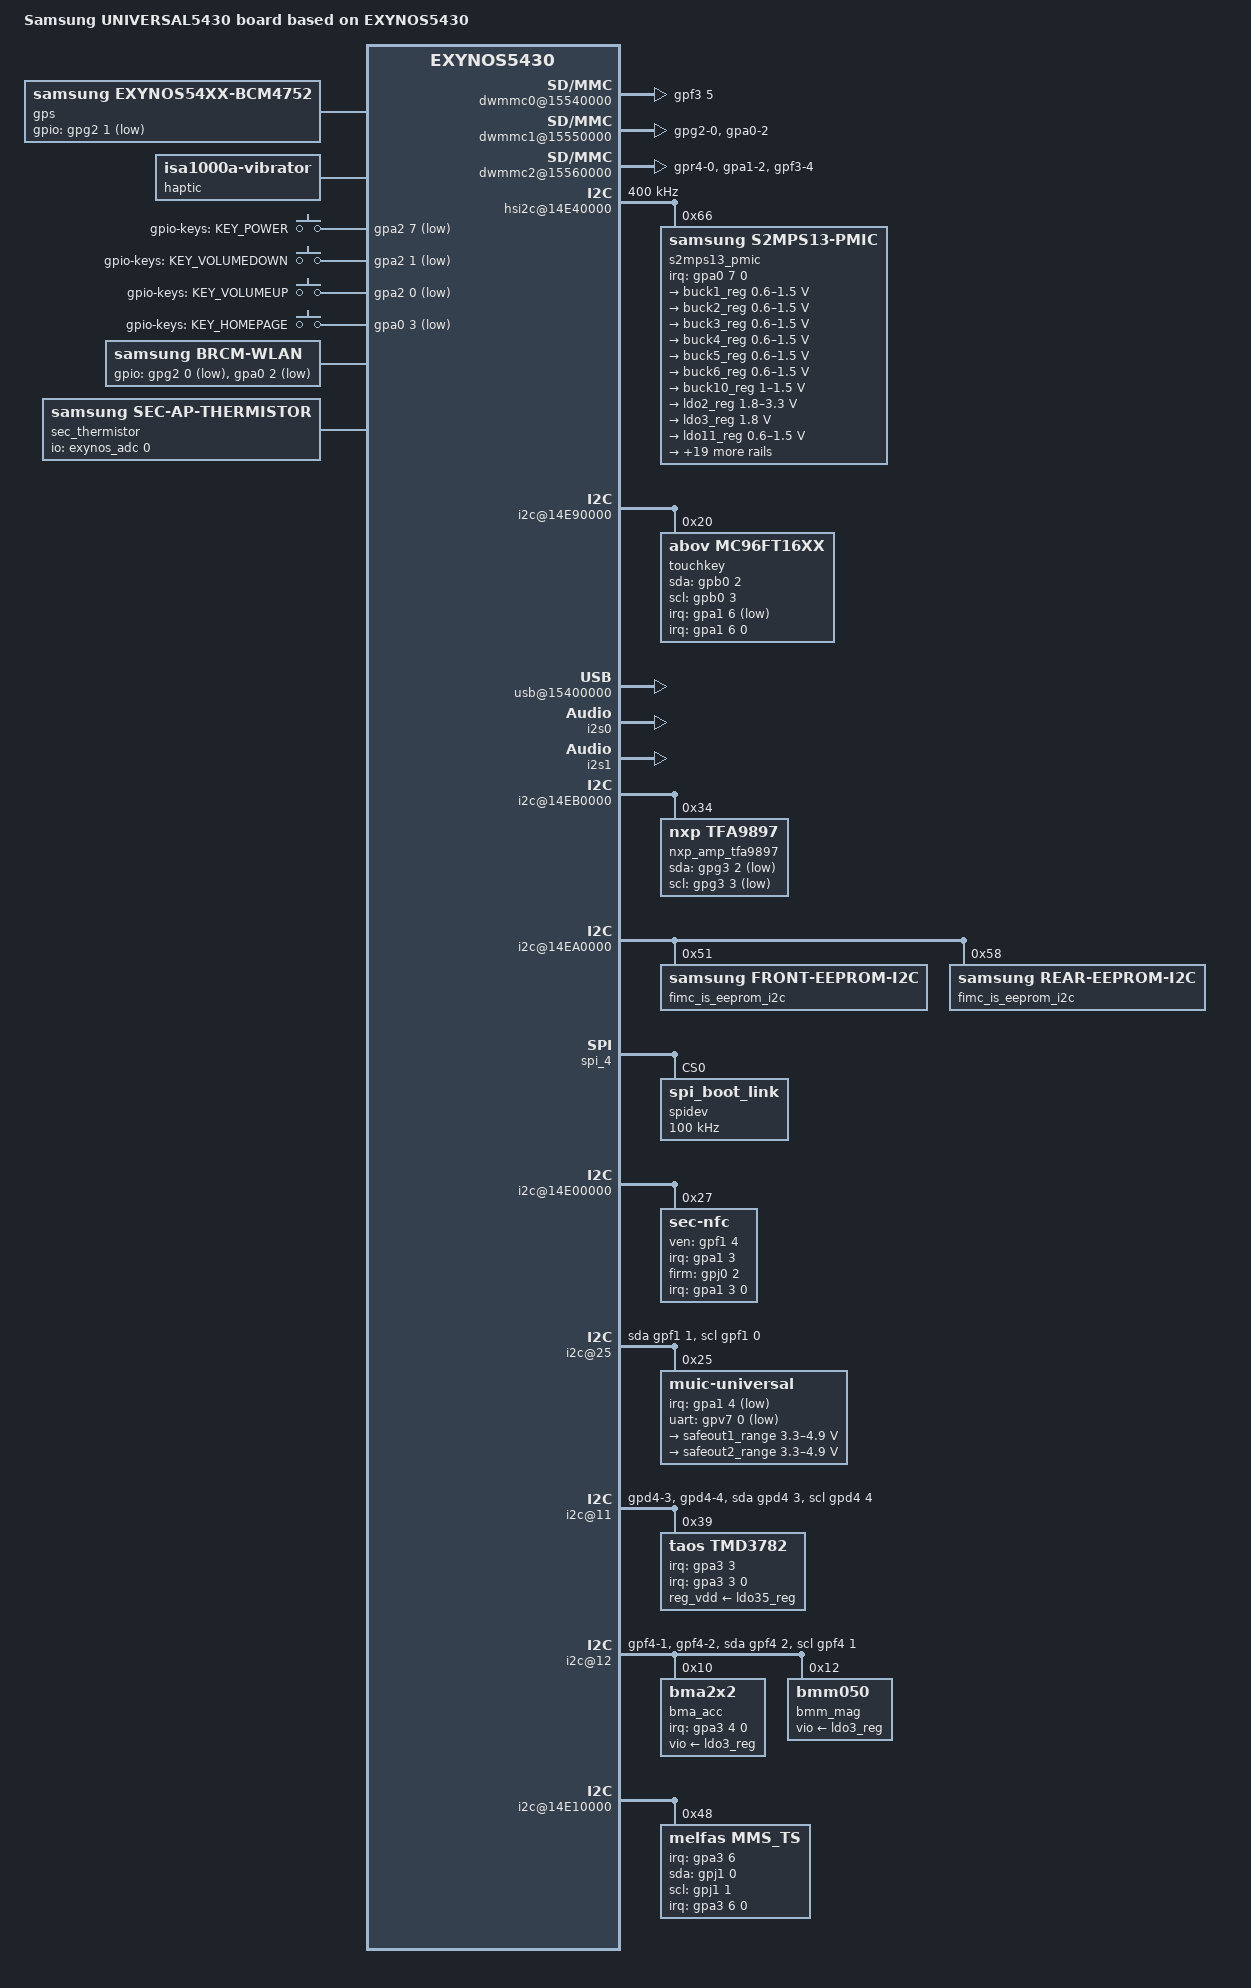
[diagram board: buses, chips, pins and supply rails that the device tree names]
/*
 * SAMSUNG UNIVERSAL5430 board device tree source
 *
 * Copyright (c) 2013 Samsung Electronics Co., Ltd.
 *		http://www.samsung.com
 *
 * This program is free software; you can redistribute it and/or modify
 * it under the terms of the GNU General Public License version 2 as
 * published by the Free Software Foundation.
*/

#include "exynos5430.dtsi"

/ {
	model = "Samsung UNIVERSAL5430 board based on EXYNOS5430";
	compatible = "samsung,UNIVERSAL5430", "samsung,exynos5430";

	chosen {
		bootargs = "console=ttySAC1,115200 vmalloc=512M";
	};

	fixed-rate-clocks {
		oscclk {
			compatible = "samsung,exynos5430-oscclk";
			clock-frequency = <24000000>;
		};
	};

	dwmmc0@15540000 {
		status = "okay";
		num-slots = <1>;
		broken-cd;
		bypass-smu;
		fixed_volt;
		clock-gate;
		enable-cclk-on-suspend;
		only_once_tune;
		supports-highspeed;
		supports-hs200-1-8v-mode;
		supports-ddr200-1-8v-mode;
		device-driver = <1>;
		supports-poweroff-notification;
		supports-ddr200-enhanced-strobe;
		error-retry;
		enable-cache-control;
		enable-no-sleep-cmd;
		qos_int_level = <200000>;
		extra_tuning;
		bypass-for-allpass;
		use-fine-tuning;
		use-enable-shift;
		ignore-lv1;                 /*Feature only applicable for A800F model */
		ignore-phase = <(1 << 7 | 1 << 6)>;
		fifo-depth = <0x80>;
		card-detect-delay = <200>;
		samsung,dw-mshc-ciu-div = <3>;
		samsung,dw-mshc-sdr-timing = <3 0 2 0>;
		samsung,dw-mshc-ddr-timing = <3 0 3 2>;
		samsung,dw-mshc-hs200-timing = <3 0 3 0>;
		samsung,dw-mshc-ddr200-timing = <1 0 2 0>;
		samsung,dw-mshc-ddr200-delay-line = <100>;
		clk_pin = "gpr0-0";
		clk_addr = "15690000.pinctrl";
		clk_val = <0x2>;
		clk_str_num = <6>;
		num-ref-clks = <8>;
		ciu_clkin = <25 50 50 100 200 100 200 400>;
		pinctrl-names = "default";
		pinctrl-0 = <&sd0_clk &sd0_cmd &sd0_rdqs &sd0_bus1 &sd0_bus4 &sd0_bus8>;
		gpios = <&gpf3 5 0>;

		slot@0 {
			reg = <0>;
			bus-width = <8>;
		};
	};

	dwmmc1@15550000 {
		status = "okay";
		num-slots = <1>;
		channel = <1>;
		fixed_volt;
		clock-gate;
		enable-cclk-on-suspend;
		caps-control;
		supports-highspeed;
		supports-sdr104-mode;
		keep-power-in-suspend;
		pm-ignore-notify;
		cd-type-external;
		cd-type = <2>;
		use-broken-voltage;
		use-fine-tuning;
		ignore-phase = <(1 << 7)>;
		fifo-depth = <0x40>;
		card-detect-delay = <200>;
		qos_int_level = <200000>;
		samsung,dw-mshc-ciu-div = <3>;
		samsung,dw-mshc-sdr-timing = <3 0 2 1>;
		samsung,dw-mshc-ddr-timing = <3 0 3 2>;
		clk_pin = "gpr2-0";
		clk_addr = "15690000.pinctrl";
		clk_val = <0x2>;
		clk_str_num = <6>;
		num-ref-clks = <8>;
		ciu_clkin = <25 50 50 100 200 100 200 400>;
		pinctrl-names = "default";
		//pinctrl-0 = <&sd1_clk &sd1_cmd &sd1_bus1 &sd1_bus4>;
		pinctrl-0 = <&sd1_clk &sd1_cmd &sd1_bus1 &sd1_bus4 &cfg_wlanen &cfg_wlanhostwake>; /* Set WLAN_EN configuration of power down mode */

		slot@0 {
			reg = <0>;
			bus-width = <4>;
		};
	};


	dwmmc2@15560000 {
		status = "okay";
		num-slots = <1>;
		bypass-smu;
		supports-highspeed;
		supports-sdr104-mode;
		clock-gate;
		enable-cclk-on-suspend;
		//fix-fmp-size-mismatch;
		not-allow-single-dma;
		desc-size = <4>;
		use-fine-tuning;
		bypass-for-allpass;
		cd-type = <0>;
		fifo-depth = <0x40>;
		card-detect-delay = <200>;
		qos_int_level = <200000>;
		ignore-phase = <(1 << 7)>;
		samsung,dw-mshc-ciu-div = <3>;
		samsung,dw-mshc-sdr-timing = <3 0 2 1>;
		samsung,dw-mshc-ddr-timing = <3 0 3 2>;
		clk_pin = "gpr4-0";
		clk_addr = "15690000.pinctrl";
		clk_val = <0x2>;
		clk_str_num = <6>;
		num-ref-clks = <8>;
		ciu_clkin = <25 50 50 100 200 100 200 400>;
		pinctrl-names = "default", "output";
		pinctrl-0 = <&sd2_clk &sd2_cmd &sd2_bus1 &sd2_bus4 &dwmmc2_cd_ext_irq &dwmmc2_vmmc_en_gpio>;
		pinctrl-1 = <&sd2_clk_output &sd2_cmd_output &sd2_bus1 &sd2_bus4 &dwmmc2_cd_ext_irq &dwmmc2_vmmc_en_gpio>;

		gpio-controller;
		#gpio-cells = <2>;
		cd-gpio = <&gpa1 2 0x0>;
		sec-sd-slot-type = <2>; /* Hybrid slot model */

		vmmc-en-gpio = <&gpf3 4 0x1>;

		slot@0 {
			reg = <0>;
			bus-width = <4>;
			disable-wp;
		};

	};

	pinctrl@15690000 {
		sd2_clk: sd2-clk {
			samsung,pins = "gpr4-0";
			samsung,pin-function = <2>;
			samsung,pin-pud = <0>;
			samsung,pin-drv = <3>;
		};
	};

	pinctrl@14CC0000 {
		dwmmc2_vmmc_en_gpio: dwmmc2-vmmc-en-gpio {
		     samsung,pins = "gpf3-4";
		     samsung,pin-function = <0x1>;
		     samsung,pin-pud = <0>;
	     };
	};

	serial@11460000 {
		samsung,uart-wake-peer;
	};

	pinctrl@10580000 {
		ok_sw: ok-sw {
			samsung,pins = "gpa0-3";
			samsung,pin-pud = <3>;
			samsung,pin-drv = <0>;
		};
		pmic_irq: pmic-irq {
			samsung,pins = "gpa0-7";
			samsung,pin-function = <0>;
			samsung,pin-pud = <3>;
			samsung,pin-drv = <3>;
		};

		if_pmic_irq: if-pmic-irq {
			samsung,pins = "gpa1-0";
			samsung,pin-function = <0>;
			samsung,pin-pud = <0>;
			samsung,pin-drv = <0>;
		};

		muic_irq: muic-irq {
			samsung,pins = "gpa1-4";
			samsung,pin-function = <0>;
			samsung,pin-pud = <0>;
			samsung,pin-drv = <0>;
		};

		fuel_irq: fuel-irq {
			samsung,pins = "gpa1-5";
			samsung,pin-function = <0>;
			samsung,pin-pud = <0>;
			samsung,pin-drv = <0>;
		};

		dwmmc2_cd_ext_irq: dwmmc2_cd_ext_irq {
			samsung,pins = "gpa1-2";
			samsung,pin-function = <0xf>;
			samsung,pin-pud = <0>;
			samsung,pin-drv = <3>;
		};
	};
	pinctrl@14CC0000 {
		/* Warm reset information from AP */
		pm_wrsti: pm-wrsti {
			samsung,pins = "gpf5-4";
			samsung,pin-con-pdn = <3>;
		};
	};

	pinctrl@14CC0000 {
		/* touchkey i2c*/
		i2c5_bus: i2c5-bus {
			samsung,pins = "gpb0-3", "gpb0-2";
			samsung,pin-function = <3>;
			samsung,pin-pud = <0>;
			samsung,pin-drv = <0>;
		};
		i2c5_pdn_off: i2c5-pdn_off {
			samsung,pins = "gpb0-3", "gpb0-2";
			samsung,pin-con-pdn = <2>;
			samsung,pin-pud-pdn = <0>;
		};
	};

	pinctrl@14CC0000 {
		uart0_rts: uart0-rts {
			samsung,pins = "gpd0-3";
			samsung,pin-function = <2>;
			samsung,pin-pud = <0>;
			samsung,pin-con-pdn = <1>;
			samsung,pin-pud-pdn = <0>;
		};

		uart0_cts: uart0-cts {
			samsung,pins = "gpd0-2";
			samsung,pin-function = <2>;
			samsung,pin-pud = <0>;
			samsung,pin-con-pdn = <2>;
			samsung,pin-pud-pdn = <1>;
		};

		uart0_tx: uart0-tx {
			samsung,pins = "gpd0-1";
			samsung,pin-function = <2>;
			samsung,pin-pud = <0>;
			samsung,pin-con-pdn = <2>;
			samsung,pin-pud-pdn = <3>;
		};

		uart0_rx: uart0-rx {
			samsung,pins = "gpd0-0";
			samsung,pin-function = <2>;
			samsung,pin-pud = <3>;
			samsung,pin-con-pdn = <2>;
			samsung,pin-pud-pdn = <3>;
		};
	};

	serial@14C10000 {
		pinctrl-0 = <&uart0_rts &uart0_cts &uart0_tx &uart0_rx>;
	};

	gps {
		compatible = "samsung,exynos54xx-bcm4752";
		gpios = <&gpg2 1 0x1>;
		status = "okay";
	};

	pinctrl@10580000 {
		/* touchkey interrupt*/
		touchkey_int_active: touchkey_int_active {
			samsung,pins = "gpa1-6";
			samsung,pin-function = <0xf>;
			samsung,pin-pud = <0>;
			samsung,pin-drv = <0>;
		};
		touchkey_int_suspend: touchkey_int_suspend {
			samsung,pins = "gpa1-6";
			samsung,pin-function = <0>;
			samsung,pin-pud = <0>;
			samsung,pin-drv = <0>;
		};
	};

	hsi2c@14E40000 {
		samsung,hs-mode;
		clock-frequency = <400000>;
		status = "okay";

		s2mps13_pmic@66 {
			compatible = "samsung,s2mps13-pmic";
			reg = <0x66>;
			interrupts = <7 0 0>;
			interrupt-parent = <&gpa0>;
			pinctrl-names = "default";
			pinctrl-0 = <&pmic_irq &pm_wrsti>;
			ap-buck-avp-en;
			sub-buck-avp-en;
			/* RTC: wtsr/smpl */
			wtsr_en = <1>; /* enable */
			smpl_en = <1>; /* enable */
			wtsr_timer_val = <3>;	/* 1000ms */
			smpl_timer_val = <4>;	/* 500ms */
			check_jigon = <0>; /* do not check jigon */
			/* RTC: If it's first boot, reset rtc to 1/1/2014 12:00:00(Wed) */
			init_time,sec = <0>;
			init_time,min = <0>;
			init_time,hour = <12>;
			init_time,mday = <1>;
			init_time,mon = <0>;
			init_time,year = <114>;
			init_time,wday = <3>;
		};
	};

	i2c@14E90000 {
		samsung,i2c-sda-delay = <100>;
		samsung,i2c-max-bus-freq = <200000>;
		status = "okay";
		touchkey@20 {
			pinctrl-names = "on_irq","off_irq";
			pinctrl-0 = <&touchkey_int_active>;
			pinctrl-1 = <&touchkey_int_suspend &i2c5_pdn_off>;
			compatible = "abov,mc96ft16xx";
			reg = <0x20>;
			interrupts = <6 0 0>;
			interrupt-parent = <&gpa1>;
			abov,sda-gpio = <&gpb0 2 0>;
			abov,scl-gpio = <&gpb0 3 0>;
			abov,irq-gpio = <&gpa1 6 1>;
			abov,regulator_ic = "vtouch_2.8v";
			abov,regulator_led = "vtouch_led_2.8v";
			abov,boot-on-ldo = "true";
		};
	};

	haptic {
		status = "okay";
		compatible = "isa1000a-vibrator";
		pinctrl-names = "default";
		pinctrl-0 = <&motor_en &vibetonz_pwm>;
		haptic,max_timeout = <10000>;
		haptic,duty = <31900>;   /* ratio = 83.7% */
		haptic,period = <38110>; /* freq = 205 * 128 = 26240hz */
		haptic,pwm_id = <0>;
		haptic,en = <&gpd4 0 0>;
	};

	pinctrl@14CC0000 {
		motor_en: motor_en {
			samsung,pins = "gpd4-0";
			samsung,pin-function = <1>;
			samsung,pin-pud = <0>;
			samsung,pin-drv = <0>;
	      };
	};

	pinctrl@14CC0000 {
		disp_pcd: disp_pcd {
			samsung,pins = "gpv7-1";
			samsung,pin-function = <0xf>;
			samsung,pin-pud = <1>;
		};
		disp_errfg: disp_errfg {
			samsung,pins = "gpb0-4";
			samsung,pin-function = <0xf>;
			samsung,pin-pud = <1>;
		};
		disp_errfg_off: disp_errfg_off {
			samsung,pins = "gpb0-4";
			samsung,pin-function = <1>;
			samsung,pin-pud = <1>;
			samsung,pin-val = <0>;
		};
	};

	/* disp_driver */
	decon_fb: decon_fb {
	/*	oled-id-gpio = <&gpf2 1 0x0>; */
		oled-pcd-gpio = <&gpv7 1 0xf>;
		oled-errfg-gpio = <&gpb0 4 0xf>;
		lcd_info = <&s6e3fa3x01>;
		decon_board = <&decon_board_list>;

		pinctrl-names = "default", "turnon_tes", "turnoff_tes", "errfg_off";
		pinctrl-0 = <&disp_pcd &disp_errfg>;
		pinctrl-1 = <&disp_pcd &disp_errfg &disp_teson>;
		pinctrl-2 = <&disp_tesoff>;
		pinctrl-3 = <&disp_pcd &disp_errfg_off &disp_teson>;

		mipi_dsi: mipi_dsi {
			/* Interface definition: 0 - DSIM_COMMAND,
						 1 - DSIM_VIDEO */
			e_interface = <0>;

			/* Pixel format : 0 - DSIM_CMD_3BPP,
					  1 - DSIM_CMD_8BPP,
					  2 - DSIM_CMD_12BPP,
					  3 - DSIM_CMD_16BPP,
					  4 - DSIM_VID_16BPP_565,
					  5 - DSIM_VID_18BPP_666PACKED,
					  6 - DSIM_18BPP_666LOOSELYPACKED,
					  7 - DSIM_24BPP_888 */
			e_pixel_format = <7>;

			/* main frame fifo auto flush at VSYNC pulse */
			auto_flush = <0>;
			eot_disable = <1>;
			auto_vertical_cnt = <0>;
			hse = <0>;
			hfp = <0>;
			hbp = <0>;
			hsa = <0>;

			/* num of data lane : 0 - DSIM_DATA_LANE_1,
					      1 - DSIM_DATA_LANE_2,
					      2 - DSIM_DATA_LANE_3,
					      3 - DSIM_DATA_LANE_4 */
			e_no_data_lane = <3>;
			/* byte clock divider : 0 - DSIM_PLL_OUT_DIV8,
						1 - DSIM_EXT_CLK_DIV8,
						2 - DSIM_EXT_CLK_BYPASS */
			e_byte_clk = <0>;
			/* Burst mode : 0 - DSIM_NON_BURST_SYNC_EVENT,
					2 - DSIM_NON_BURST_SYNC_PULSE,
					1 - DSIM_BURST
					4 - DSIM_NON_VIDEO_MODE */
			e_burst_mode = <1>;
			/* D-PHY PLL stable time spec :min = 200usec ~ max 400usec */
			pll_stable_time = <22200>;
			/* stop state holding counter after bta change count 0 ~ 0xfff */
			stop_holding_cnt = <10>;
			/* bta timeout 0 ~ 0xff */
			bta_timeout = <0xff>;
			/* lp rx timeout 0 ~ 0xffff */
			rx_timeout = <0xffff>;
		};
		s6e3fa3x01: s6e3fa3x01_fhd {
			mode = <0>;
			resolution = <1080 1920>;
			size = <65 115>;
			timing,refresh = <60>;
			timing,h-porch = <1 1 1>;
			timing,v-porch = <15 1 1>;
			timing,dsi-hs-clk = <936>;
			timing,dsi-escape-clk = <17>;
			timing,hsync-2h-cycle = <1>;
			type_of_ddi = <1>; /* 0:Samsung Mobile, 1:MAGNA, 2:Normal(Etc) */
			//mic = <1>;
		};
		/*decon_mic: decon_mic {
			sysreg1 = <0x13B81004>;
			sysreg2 = <0x13B81048>;
		};*/

		decon_board_list: decon_board_list {
			enable_display_driver_power {
				type = "regulator,enable", "gpio,high", "regulator,enable", "delay,usleep", "pinctrl,default", "pinctrl,turnon_tes";
				desc = "Turn on VDDI(VDD3): 1.8", "Turn on VDDR(VDDI_REG): 1.5", "Turn on VCI: 3.0", "Wait 10ms", "default", "turnon_tes";
				gpios = <&gpf1 5 0x1>;
				delay = <10000 11000>;
				regulator = "VCC_1.8V_LCD_AP", "VCC_3.0V_LCD_AP";
			};
			disable_display_driver_power {
				type = "gpio,low", "regulator,disable", "gpio,low", "delay,usleep", "regulator,disable", "pinctrl,turnoff_tes";
				desc = "", "Turn off VCI: 3.0", "Turn on VDDR(VDDI_REG): 1.5", "Wait 3ms", "Turn off VDDI(VDD3): 1.8", "turnoff_tes";
				gpios = <&gpv7 2 0x1>, <&gpf1 5 0x1>;
				delay = <3000 5000>;
				regulator = "VCC_3.0V_LCD_AP", "VCC_1.8V_LCD_AP";
			};
			reset_display_driver_panel {
				type = "delay,usleep","gpio,high", "delay,usleep", "gpio,low", "delay,usleep", "gpio,high", "delay,usleep";
				gpios = <&gpv7 2 0x1>, <&gpv7 2 0x1>, <&gpv7 2 0x1>;
				delay = <5000 6000>, <5000 6000>, <5000 6000>, <10000 11000>;
			};
		};
	};

	usb@15400000 {
		status = "okay";
		/* using gpio (1:use, 0:not use) */
		is_gpio = <0>;

		dwc3 {
			maximum-speed = "high-speed";
			dr_mode = "otg";
		};
	};

	usb@15510000 {
		/* using gpio (1:use, 0:not use) */
		is_gpio = <0>;
	};

	usb_notifier {
		compatible = "samsung,usb-notifier";
	};

	gpio_keys {
		compatible = "gpio-keys";
		#address-cells = <1>;
		#size-cells = <0>;
		poll-interval = <100>;
		pinctrl-names = "default";
		pinctrl-0 = <&ok_sw>;
		button@1 {
			label = "gpio-keys: KEY_POWER";
			interrupts = <7 0 0>;
			interrupt-parent = <&gpa2>;
			linux,code = <116>;
			gpios = <&gpa2 7 0xf>;
			gpio-key,wakeup = <1>;
		};
		button@2 {
			label = "gpio-keys: KEY_VOLUMEDOWN";
			interrupts = <1 0 0>;
			interrupt-parent = <&gpa2>;
			linux,code = <114>;
			gpios = <&gpa2 1 0xf>;
		};
		button@3 {
			label = "gpio-keys: KEY_VOLUMEUP";
			interrupts = <0 0 0>;
			interrupt-parent = <&gpa2>;
			linux,code = <115>;
			gpios = <&gpa2 0 0xf>;
		};
		button@4 {
			label = "gpio-keys: KEY_HOMEPAGE";
			interrupts = <3 0 0>;
			interrupt-parent = <&gpa0>;
			linux,code = <172>;
			gpios = <&gpa0 3 0xf>;
			gpio-key,wakeup = <1>;
		};
	};

	sec_input_debug-keys {
		compatible = "sec_input_debug-keys";

		button@1 {
			label = "debug-keys: KEY_POWER";
			linux,code = <116>;
		};
		button@2 {
			label = "debug-keys: KEY_VOLUMEDOWN";
			linux,code = <114>;
			state = "true";
		};
		button@3 {
			label = "debug-keys: KEY_VOLUMEUP";
			linux,code = <115>;
		};
	};

	i2s0: i2s@11440000 {
		status = "okay";
	};

	i2s1: i2s@14D60000 {
		status = "okay";
	};

	i2c@14EB0000 {
		samsung,i2c-sda-delay = <100>;
		samsung,i2c-max-bus-freq = <400000>;
		samsung,i2c-bus-num = <20>;
		status = "okay";
		nxp_amp_tfa9897@34 {
			compatible = "nxp,tfa9897";
			reg = <0x34>;
			nxp,sda-gpio = <&gpg3 2 0xf>;
			nxp,scl-gpio = <&gpg3 3 0xf>;
		};
	};
	pinctrl@14CC0000 {
		i2c6_bus: i2c6-bus {
				samsung,pins = "gpg3-1", "gpg3-0";
				samsung,pin-function = <0>;
				samsung,pin-pud = <0>;
				samsung,pin-drv = <0>;
		};
	};

	i2c@14EA0000 {
		samsung,i2c-sda-delay = <100>;
		samsung,i2c-max-bus-freq = <400000>;
		status = "okay";
		fimc_is_eeprom_i2c@51 {
			compatible = "samsung,front-eeprom-i2c";
			use_i2c_pinctrl;
			reg = <0x51>;
			fimc_is_front_eeprom_pinname = "14cc0000.pinctrl";
			fimc_is_front_eeprom_sda ="gpg3-0"; //"gpc2-2";
			fimc_is_front_eeprom_scl = "gpg3-1"; // "gpc2-3";
			pinfunc_on = <3>;
			pinfunc_off = <0>;
		};
		fimc_is_eeprom_i2c@58 {
			compatible = "samsung,rear-eeprom-i2c";
			use_i2c_pinctrl;
			reg = <0x58>;
			fimc_is_rear_eeprom_pinname = "14cc0000.pinctrl";
			fimc_is_rear_eeprom_sda = "gpg3-0"; //"gpc2-2";
			fimc_is_rear_eeprom_scl = "gpg3-1"; // "gpc2-3";
			pinfunc_on = <3>;
			pinfunc_off = <0>;
		};
	};

	/* Companion driver */
	fimc_is_companion: fimc_is_companion@14180000 {
		status = "disabled";
	};

	fimc_is_sensor0: fimc_is_sensor@12100000 {
		pinctrl-names ="default", "ch0", "af0", "off0";
		pinctrl-0 = <&fimc_is_ch0_i2c &fimc_is_ch0_mclk_off &fimc_is_ch1_i2c>;
		pinctrl-1 = <&fimc_is_ch0_i2c &fimc_is_ch0_mclk>;
		pinctrl-2 = <&fimc_is_ch0_i2c &fimc_is_ch0_mclk &fimc_is_ch1_i2c>;
		pinctrl-3 = <&fimc_is_ch0_mclk_off>;

		scenario = <0>;
		gpio_reset = <&gpc0 4 0x1>;
		gpios_cam_en = <&gpc0 5 0x1>;
		id = <0>;
		mclk_ch = <0>;
		csi_ch = <0>;
		flite_ch = <0>;
		i2c_ch = <0x100>;
		i2c_addr = <0x1800>; /*[3:2]AF, [1:0]SENSOR*/
		actuator_id = <13>;
		flash_id = <3>;
		flash_first_gpio = <1>;
		flash_second_gpio = <2>;
		sensor_name = "3p3";
		sensor_id = <23>;
		is_bns = <1>;
		status = "okay";
	};

	fimc_is_sensor1: fimc_is_sensor@12110000 {
		pinctrl-names ="default", "ch2", "off2";
		pinctrl-0 = <&fimc_is_ch2_mclk_off>;
		pinctrl-1 = <&fimc_is_ch2_i2c &fimc_is_ch2_mclk>;
		pinctrl-2 = <&fimc_is_ch2_mclk_off>;

		scenario = <0>;
		gpio_reset = <&gpc0 3 0x1>;
		id = <1>;
		mclk_ch = <2>;
		csi_ch = <2>;
		flite_ch = <2>;
		i2c_ch = <0x2>;
		i2c_addr = <0x20>;
		sensor_name = "5e3";
		sensor_id = <17>;
		is_bns = <0>;
		status = "okay";
	};

	fimc_is@14000000 {
		interrupts = <0 165 0>; /* Remove ISP_GIC to use FIMC IS i2c channel in host */
		use_vision = <0>;
		use_sensor_dynamic_voltage_mode = <1>;
		use_module_check;
		/delete-property/ pinctrl-0;

		total_camera_num = <2>;
		camera_info0 {				// 0 : rear
			isp = <0>;				/* 0 : INT , 1 : EXT , 2 : SOC */
			cal_memory = <2>;		/* 0 : N , 1 : FROM , 2 : EEPROM , 3 : OTP  */
			read_version = <0>;		/* 0 : SYSFS , 1 : CAMON */
			core_voltage = <0>;		/* 0 : N , 1 : Y  */
			upgrade = <0>;			/* 0 : N , 1 : SYSFS , 2 : CAMON */
			companion_chip = <0>;	/* 0 : N , 1 : Y  */
			ois = <0>;				/* 0 : N , 1 : Y  */
		};
		camera_info1 {				// 1 : front
			isp = <0>;				/* 0 : INT , 1 : EXT , 2 : SOC */
			cal_memory = <2>;		/* 0 : N , 1 : FROM , 2 : EEPROM , 3 : OTP  */
			read_version = <0>;		/* 0 : SYSFS , 1 : CAMON */
			core_voltage = <0>;		/* 0 : N , 1 : Y  */
			upgrade = <0>;			/* 0 : N , 1 : SYSFS , 2 : CAMON */
			companion_chip = <0>;	/* 0 : N , 1 : Y  */
			ois = <0>;				/* 0 : N , 1 : Y  */
		};

		fimc_is_dvfs {
			default_int = <543000>; /* L0_A */
			default_cam = <777000>; /* L0 */
			default_mif = <825000>; /* L0 */
			default_i2c = <0>;

			front_preview_int = <400000>; /* L0 */
			front_preview_cam = <466000>; /* L3 */
			front_preview_mif = <825000>; /* L0 */
			front_preview_i2c = <0>;

			front_capture_int = <400000>; /* L0 */
			front_capture_cam = <466000>; /* L3 */
			front_capture_mif = <543000>; /* L2 */
			front_capture_i2c = <0>;

			front_camcording_int = <400000>; /* L0 */
			front_camcording_cam = <466000>; /* L3 */
			front_camcording_mif = <543000>; /* L2 */
			front_camcording_i2c = <0>;

			front_vt1_int = <400000>; /* L0 */
			front_vt1_cam = <333000>; /* L6 */
			front_vt1_mif = <543000>; /* L2 */
			front_vt1_i2c = <0>;

			front_vt2_int = <400000>; /* L0 */
			front_vt2_cam = <333000>; /* L6 */
			front_vt2_mif = <543000>; /* L2 */
			front_vt2_i2c = <0>;

			rear_preview_fhd_bns_off_int = <400000>; /* L0 */
			rear_preview_fhd_bns_off_cam = <455000>; /* L4 */
			rear_preview_fhd_bns_off_mif = <543000>; /* L2 */
			rear_preview_fhd_bns_off_i2c = <0>;

			rear_preview_fhd_int = <400000>; /* L0 */
			rear_preview_fhd_cam = <455000>; /* L4 */
			rear_preview_fhd_mif = <543000>; /* L2 */
			rear_preview_fhd_i2c = <0>;

			rear_preview_whd_int = <0>; /* Not Supported */
			rear_preview_whd_cam = <0>; /* Not Supported */
			rear_preview_whd_mif = <0>; /* Not Supported */
			rear_preview_whd_i2c = <0>;

			rear_preview_uhd_int = <0>; /* Not Supported */
			rear_preview_uhd_cam = <0>; /* Not Supported */
			rear_preview_uhd_mif = <0>; /* Not Supported */
			rear_preview_uhd_i2c = <0>;

			rear_capture_int = <400000>; /* L0 */
			rear_capture_cam = <666000>; /* L1 */
			rear_capture_mif = <825000>; /* L0 */
			rear_capture_i2c = <0>;

			rear_camcording_fhd_bns_off_int = <400000>; /* L0 */
			rear_camcording_fhd_bns_off_cam = <455000>; /* L4 */
			rear_camcording_fhd_bns_off_mif = <543000>; /* L2 */
			rear_camcording_fhd_bns_off_i2c = <0>;

			rear_camcording_fhd_int = <400000>; /* L0 */
			rear_camcording_fhd_cam = <455000>; /* L4 */
			rear_camcording_fhd_mif = <543000>; /* L2 */
			rear_camcording_fhd_i2c = <0>;

			rear_camcording_whd_int = <0>; /* Not Supported */
			rear_camcording_whd_cam = <0>; /* Not Supported */
			rear_camcording_whd_mif = <0>; /* Not Supported */
			rear_camcording_whd_i2c = <0>;

			rear_camcording_uhd_int = <0>; /* Not Supported */
			rear_camcording_uhd_cam = <0>; /* Not Supported */
			rear_camcording_uhd_mif = <0>; /* Not Supported */
			rear_camcording_uhd_i2c = <0>;

			dual_preview_int = <0>; /* Not Supported */
			dual_preview_cam = <0>; /* Not Supported */
			dual_preview_mif = <0>; /* Not Supported */
			dual_preview_i2c = <0>;

			dual_capture_int = <0>; /* Not Supported */
			dual_capture_cam = <0>; /* Not Supported */
			dual_capture_mif = <0>; /* Not Supported */
			dual_capture_i2c = <0>;

			dual_camcording_int = <0>; /* Not Supported */
			dual_camcording_cam = <0>; /* Not Supported */
			dual_camcording_mif = <0>; /* Not Supported */
			dual_camcording_i2c = <0>;

			high_speed_fps_int = <0>; /* Not Supported */
			high_speed_fps_cam = <0>; /* Not Supported */
			high_speed_fps_mif = <0>; /* Not Supported */
			high_speed_fps_i2c = <0>;

			dis_enable_int = <0>; /* Not Supported */
			dis_enable_cam = <0>; /* Not Supported */
			dis_enable_mif = <0>; /* Not Supported */
			dis_enable_i2c = <0>;

			max_int = <543000>; /* L0_A */
			max_cam = <777000>; /* L0 */
			max_mif = <825000>; /* L0 */
			max_i2c = <0>;
		};
	};

	pinctrl@14CC0000 {
		fimc_is_ch0_i2c: fimc-is-ch0_i2c {
			samsung,pins = "gpc2-1", "gpc2-0";
			samsung,pin-function = <2>;
			samsung,pin-pud = <0>;
			samsung,pin-drv = <0>;
		};
		fled_flash_sleep: fled-flash-sleep {
			samsung,pins = "gpc0-2", "gpc0-1";
			samsung,pin-function = <2>;
			samsung,pin-pud = <1>;
			samsung,pin-drv = <0>;
		};
		fled_flash_active: fled-flash-active {
			samsung,pins = "gpc0-2", "gpc0-1";
			samsung,pin-function = <1>;
			samsung,pin-pud = <0>;
			samsung,pin-drv = <0>;
		};
		sky_torch: sky-torch {
			samsung,pins = "gpc0-5";
			samsung,pin-function = <1>;
			samsung,pin-pud = <0>;
			samsung,pin-drv = <0>;
		};
		uart1_bus: uart1-bus {
			samsung,pins = "gpd1-1", "gpd1-0";
			samsung,pin-function = <2>;
			samsung,pin-pud = <0>;
		};

		uart2_bus: uart2-bus {
			samsung,pins = "gpd1-5", "gpd1-4";
			samsung,pin-function = <0>;
			samsung,pin-pud = <1>;
		};

		fimc_is_ch0_mclk: fimc-is-ch0_mclk {
			samsung,pin-drv = <1>;
		};

		fimc_is_ch0_mclk_off: fimc-is-ch0_mclk_off {
			samsung,pins = "gpd7-0";
			samsung,pin-function = <1>;
			samsung,pin-pud = <1>;
			samsung,pin-drv = <0>;
		};

		fimc_is_ch2_mclk: fimc-is-ch2-mclk {
			samsung,pin-drv = <1>;
		};

		fimc_is_ch2_mclk_off: fimc-is-ch2_mclk_off {
			samsung,pins = "gpd7-2";
			samsung,pin-function = <1>;
			samsung,pin-pud = <1>;
			samsung,pin-drv = <0>;
		};
	};

	i2s_dummy: dummy-i2s {
		compatible = "samsung,dummy-i2s";
		status = "okay";
	};

	spi_4: spi@141b0000 {
		fimc-is-spi;
		domain = "cam1";
		samsung,power-domain = <&pd_cam1>;

		#address-cells = <1>;
		#size-cells = <0>;

		spidev@0 {
			#address-cells = <1>;
			#size-cells = <1>;
			compatible = "spi_boot_link";
			reg = <0x0>;
			spi-max-frequency = <100000>;

			controller-data {
				samsung,spi-feedback-delay = <0>;
				samsung,spi-chip-select-mode = <1>;
			};
		};
	};

	mipi-lli@10F24000 {
		reg = <0x10F24000 0x4000>,
		      <0x10F34000 0x4000>,
		      <0x10FD0000 0x2000>,
		      <0x105C0720 0x4>;
	};

	hdmi {
		compatible = "samsung,pacific-hdmi";
		samsung,audio-cpu = <&i2s1>;
		samsung,audio-codec = <&codec_dummy>;
		status = "okay";
	};

	muic {
		status = "disabled";
		muic,support-list = "+OTG:GND",
					"-MHL:1K",
					"-VZW Accessory:28.7K",
					"-VZW Incompatible:34K",
					"-Smartdock:40.2K",
					"-HMT:49.9K",
					"-Audiodock:64.9K",
					"-USB LANHUB:80.07K",
					"+Charging Cable:102K",
					"-Universal Multimedia dock:121K",
					"+Jig USB Off:255K",
					"+Jig USB On:301K",
					"+Deskdock:365K",
					"+TYPE2 Charger:442K",
					"+Jig UART Off:523K",
					"+Jig UART On:619K",
					"+TA:OPEN",
					"+USB:OPEN",
					"+CDP:OPEN",
					"+Undefined Charging:XXX";
	};

	pinctrl@14CC0000 {
		cfg_wlanen: cfg-wlanen {
			samsung,pins = "gpg2-0";
			samsung,pin-function = <1>;
			samsung,pin-pud = <0>;
			samsung,pin-drv = <3>;
			samsung,pin-con-pdn = <3>;
			samsung,pin-pud-pdn = <0>;
		};
	};

	pinctrl@10580000 {
		cfg_wlanhostwake: cfg-wlanhostwake {
			samsung,pins = "gpa0-2";
			samsung,pin-function = <0>;
			samsung,pin-pud = <1>;
			samsung,pin-con-pdn = <2>;
			samsung,pin-pud-pdn = <0>;
		};
	};

	wlan {
		compatible = "samsung,brcm-wlan";
		gpios = <&gpg2 0 0x1	/* WLAN_EN */
				&gpa0 2 0xF	/* WLAN_HOST_WAKE */
				>;
		pinctrl-names = "default";
		pinctrl-0=<&cfg_wlanen &cfg_wlanhostwake>;
		status = "okay";
	};

	input_booster {
		status = "okay";
		compatible = "input_booster";
		#address-cells = <1>;
		#size-cells = <0>;

		booster_key@1{
			input_booster,label = "TOUCH";
			input_booster,type = <0>;	/* BOOSTER_DEVICE_TOUCH */

			input_booster,levels = <1 2 3 4 5 9 10>;

			/* Frequency table */
			/* for level	:		1_Head, 2_Tail, 3_Head, 4_Head/Tail, 5_Head, 9_Head, 9_Tail */
			input_booster,cpu_freqs = <1200000 0 0 0 0 1800000 1400000>;
			input_booster,hmp_boost = <1 0 0 0 0 1 1>;
			input_booster,kfc_freqs = <0 1200000 1200000 1200000 1200000 1300000 1300000>;
			input_booster,mif_freqs = <633000 413000 413000 413000 413000 825000 825000>;
			input_booster,int_freqs = <267000 0 0 0 0 400000 400000>;

			/* Time table */
			input_booster,head_times = <130 130 130 130 130 500 0>;
			input_booster,tail_times = <500 500 500 200 500 1000 0>;
			input_booster,phase_times = <0 0 0 0 0 0 0>;
		};
		booster_key@2 {
			input_booster,label = "KEY";
			input_booster,type = <2>;	/* BOOSTER_DEVICE_KEY */

			input_booster,levels = <1>;

			/* Frequency table */
			/* for level	:	1_Head */
			input_booster,cpu_freqs = <1200000>;
			input_booster,hmp_boost = <1>;
			input_booster,kfc_freqs = <0>;
			input_booster,mif_freqs = <0>;
			input_booster,int_freqs = <0>;

			/* Time table */
			input_booster,head_times = <500>;
			input_booster,tail_times = <500>;
			input_booster,phase_times = <0>;
		};
		booster_key@3 {
			input_booster,label = "TOUCHKEY";
			input_booster,type = <3>;	/* BOOSTER_DEVICE_TOUCHKEY */

			input_booster,levels = <1>;

			/* Frequency table */
			/* for level	:	1_Head */
			input_booster,cpu_freqs = <1200000>;
			input_booster,hmp_boost = <1>;
			input_booster,kfc_freqs = <0>;
			input_booster,mif_freqs = <0>;
			input_booster,int_freqs = <0>;

			/* Time table */
			input_booster,head_times = <0>;
			input_booster,tail_times = <200>;
			input_booster,phase_times = <0>;
		};

		/* If you need to add new key type, add it this position */
	};

	ion {
		compatible = "samsung,exynos5430-ion";

		contig-names = "common",
				"video_ext",
				"mfc_sh",
				"g2d_wfd",
				"video",
				"sectbl",
				"mfc_fw",
				"mfc_nfw",
				"secdma";

		contig = <0 0x600000 0x0>,
			<1 0x600000 0x0>,
			<2 0x100000 0x0>,
			<10 0x800000 0x0>,
			<11 0x8100000 0x0>,
			<9 0x100000 0x0>,
		 	<8 0x300000 0x0>,
		 	<12 0x300000 0x0>,
			<13 0x20000 0x0>;

		contig-isolate_on_boot = <0>, <1>, <2>, <8>,
					  <9>, <10>, <11>, <12>, <13>;

		secure = <11>, <9>, <8>, <1>;

		ion_noncontig_heap {
			id-type = <0 0>;
		};

		exynos_contig_heap {
			id-type = <4 6>;
		};
	};

	ipa_pdata {
		compatible = "samsung,exynos-ipa";

		control_temp = <80>;
		temp_threshold = <10>;
		enabled = <1>;
		tdp = <3500>;
		boost = <1>;
		ros_power = <500>;
		a7_weight = <1024>;
		a15_weight = <256>;
		gpu_weight = <256>;
		a7_max_power = <1000>;
		a15_max_power = <6552>;
		gpu_max_power = <3110>;
		hotplug_out_threshold = <5>;
		hotplug_in_threshold = <0>;
		enable_ctlr = <1>;
		ctlr.mult = <2>;
		ctlr.k_i = <1>;
		ctlr.k_d = <0>;
		ctlr.feed_forward = <1>;
		ctlr.integral_reset_value = <0>;
		ctlr.integral_cutoff = <0>;
		ctlr.integral_reset_threshold = <5>;
	};

	sec_thermistor {
		compatible = "samsung,sec-ap-thermistor";
		status = "okay";

		adc_array = <261 269 277 285 293 301 309 317 325 333
			341 351 361 372 382 392 409 426 443 460
			475 494 513 532 551 569 585 601 617 633
			648 698 748 772 796 821 859 898 936 975
			1013 1038 1063 1099 1135 1172 1199 1226 1271 1316
			1361 1399 1437 1472 1507 1541 1590 1639 1679 1719
			1760 1803 1846 1890 1934 1977 2019 2061 2103 2145
			2186 2225 2264 2303 2342 2381 2420 2459 2498 2537
			2577 2613 2649 2685 2721 2757 2793 2830 2866 2903
			2940 2968 2996 3024 3052 3080 3108 3136 3164 3192
			3217 3237 3258 3278 3299 3319 3340 3360 3381 3401
			3422>;
		temp_array = <900 890 880 870 860 850 840 830 820 810
			800 790 780 770 760 750 740 730 720 710
			700 690 680 670 660 650 640 630 620 610
			600 590 580 570 560 550 540 530 520 510
			500 490 480 470 460 450 440 430 420 410
			400 390 380 370 360 350 340 330 320 310
			300 290 280 270 260 250 240 230 220 210
			200 190 180 170 160 150 140 130 120 110
			100 90 80 70 60 50 40 30 20 10
			0 (-10) (-20) (-30) (-40) (-50) (-60) (-70) (-80) (-90)
			(-100) (-110) (-120) (-130) (-140) (-150) (-160) (-170) (-180) (-190)
			(-200)>;

		io-channels = <&exynos_adc 0>;
		io-channel-names = "adc-ap-temp";
		io-channel-ranges;
	};

	secgpio_dvs {
		compatible = "samsung,exynos5430-secgpio-dvs";
		status = "okay";
	};

	argos {
		compatible = "samsung,argos";
		#address-cells = <1>;
		 /*  The device number should be assigned for each device, e.g. "boot_device@1" and "boot_device@2".
		   Duplicated number is not allowed. Please refer the below example. */

		 boot_device@1 {
			net_boost,label="IPC";
			net_boost,node="rmnet0 rmnet1 rmnet2 rmnet3 rmnet4 rmnet5 rmnet6 rmnet7";
			net_boost,table_size = <2>;
			net_boost,table= <100 0 0 1100000 0 825000 100000 0 1 0
					  130 0 0 1300000 0 825000 100000 0 1 0>;
		};
		 boot_device@2 {
			 net_boost,label="EMMC";
			 net_boost,node="";
			 net_boost,sysnode="/sys/class/mmc_host/mmc0/trans_count";
			 net_boost,table_size = <1>;
			/* <Throughput(Mbps) ARM_min ARM_max KFC_min KFC_max MIF INT Task Irq HMPBoost> */
			 net_boost,table= <64 0 0 1300000 0 825000 0 0 0 0>;
		 };
		 boot_device@3 {
			net_boost,label="P2P";
			net_boost,node="p2p-wlan0-0";
			net_boost,table_size = <3>;
			net_boost,table= <
				30 1000000 0 800000 0 0 200000 0 0 0
				50 1200000 0 1000000 0 0 200000 0 0 0
				90 1700000 0 1300000 0 543000 267000 0 0 1
				>;
		};

		boot_device@4 {
			net_boost,label="CLAT";
			net_boost,node="clat clat4 v4-rmnet0 v4-rmnet1 v4-rmnet2 v4-rmnet3 v4-rmnet4 v4-rmnet5 v4-rmnet6 v4-rmnet7";
			net_boost,table_size = <3>;
			/*		 <Throughput ARM_min ARM_max KFC_min KFC_max MIF INT Task Irq HMPBoost> */
			net_boost,table= <120 1400000 0 0 0 825000 0 1 0 0
					  130 1500000 0 0 0 825000 0 1 0 0
					  150 1600000 0 0 0 825000 0 1 0 0>;
		};
		boot_device@5 {
			net_boost,label="USB";
			net_boost,node="rndis0";
			net_boost,table_size = <1>;
			net_boost,table= <0 0 0 0 0 0 0 0 1 0>;
		};

		boot_device@6 {
			net_boost,label="WIFI";
			net_boost,node="wlan0";
			net_boost,table_size = <1>;
			net_boost,table= <
				180 0 0 0 0 0 0 1 1 1
				>;
		 };
		boot_device@7 {
			net_boost,label="WIFI TX";
			net_boost,node="wlan0";
			net_boost,table_size = <3>;
			net_boost,table= <
				20 1000000 0 800000 0 0 200000 0 0 0
				35 1200000 0 1000000 0 0 200000 0 0 0
				60 1500000 0 1200000 0 0 200000 0 0 0
				180 1800000 0 1300000 0 543000 267000 1 1 1
				>;
		};
		boot_device@8 {
			net_boost,label="WIFI RX";
			net_boost,node="wlan0";
			net_boost,table_size = <2>;
			net_boost,table= <
				80 1500000 0 1200000 0 0 200000 0 0 0
				180 1800000 0 1300000 0 543000 267000 1 1 1
				>;
		};
	};

	fimg2d_pdata {
		g2d_qos_table {
			g2d_qos_variant_0 {
				freq_int = <400000>;
				freq_mif = <825000>;
				freq_cpu = <1500000>;
				freq_kfc = <1300000>;
			};
			g2d_qos_variant_1 {
				freq_int = <400000>;
				freq_mif = <825000>;
				freq_cpu = <0>;
				freq_kfc = <800000>;
			};
			g2d_qos_variant_2 {
				freq_int = <317000>;
				freq_mif = <543000>;
				freq_cpu = <0>;
				freq_kfc = <800000>;
			};
			g2d_qos_variant_3 {
				freq_int = <267000>;
				freq_mif = <413000>;
				freq_cpu = <0>;
				freq_kfc = <800000>;
			};
			g2d_qos_variant_4 {
				freq_int = <267000>;
				freq_mif = <413000>;
				freq_cpu = <0>;
				freq_kfc = <500000>;
			};
		};
	};
	i2c@14E00000 {
		samsung,i2c-sda-delay = <100>;
		samsung,i2c-max-bus-freq = <400000>;
		#address-cells = <1>;
		#size-cells = <0>;
		status = "okay";

		sec-nfc@27 {
			compatible = "sec-nfc";
			reg = <0x27>;

			interrupts = <3 0 0>;
			interrupt-parent = <&gpa1>;

			sec-nfc,ven-gpio = <&gpf1 4 0>;
			sec-nfc,irq-gpio = <&gpa1 3 0>;
			sec-nfc,firm-gpio = <&gpj0 2 0>;
			sec-nfc,i2c_1p8 = "VDD_NFC_1P8";

			pinctrl-names = "default";
			pinctrl-0 = <&nfc_n5_en>;
		};
	};

	pinctrl@14CC0000 {
		muic_i2c: muic_i2c {
			samsung,pins = "gpf1-0", "gpf1-1";
			samsung,pin-function = <1>;
			samsung,pin-pud = <0>;
			samsung,pin-drv = <0>;
		};

		uart_gpio: uart_gpio {
			samsung,pins = "gpv7-0";
			samsung,pin-function = <1>;
			samsung,pin-pud = <1>;
			samsung,pin-drv = <0>;
		};
	};

	i2c@25 {
                compatible = "i2c-gpio";
                gpios = <&gpf1 1 0 &gpf1 0 0>;
                i2c-gpio,delay-us = <2>;
                #address-cells = <1>;
                #size-cells = <0>;
                status = "ok";
                muic-universal@25 {
                        compatible = "muic-universal";
                        reg = <0x25>;
                        status = "okay";
			muic-universal,chip_name = "sm,sm5703";
                        pinctrl-names = "default";
			pinctrl-0 = <&muic_irq &uart_gpio>;
                        muic-universal,irq-gpio = <&gpa1 4 1>;
                        muic-universal,uart-gpio = <&gpv7 0 1>;
                        muic-universal,wakeup;

                        regulators {
                                ESAFEOUT1 {
                                        regulator-compatible = "safeout1";
                                        regulator-name = "safeout1_range";
                                        regulator-min-microvolt = <3300000>;
                                        regulator-max-microvolt = <4900000>;
                                        regulator-boot-on;
                                };

                                ESAFEOUT2 {
                                        regulator-compatible = "safeout2";
                                        regulator-name = "safeout2_range";
                                        regulator-min-microvolt = <3300000>;
                                        regulator-max-microvolt = <4900000>;
                                };
                        };
                };
        };

	pinctrl@10580000 {
		prox_irq: prox_irq {
		samsung,pins = "gpa3-3";
		samsung,pin-function = <0>;
		samsung,pin-pud = <0>;
		samsung,pin-drv = <0>;
		};
		acc_int: acc_int {
		samsung,pins = "gpa3-4";
		samsung,pin-function = <0>;
		samsung,pin-pud = <1>;
		samsung,pin-drv = <0>;
		};
	};

	pinctrl@14CC0000 {
		prox_i2c: prox_i2c {
		samsung,pins = "gpd4-3",  "gpd4-4";
		samsung,pin-function = <0x0>;
		samsung,pin-pud = <0>;
		samsung,pin-drv = <0>;
	      };

		accel_i2c: accel_i2c {
		samsung,pins = "gpf4-1",  "gpf4-2";
		samsung,pin-function = <0x0>;
		samsung,pin-pud = <0>;
		samsung,pin-drv = <0>;
	      };
	};
	i2c@11 {
		compatible = "i2c-gpio";
		gpios = <&gpd4 3 0x0 /*sda*/
				&gpd4 4 0x0  /*scl*/
				>;
		i2c-gpio,scl-output-only;
		i2c-gpio,delay-us = <2>;
		#address-cells = <1>;
		#size-cells = <0>;
		pinctrl-names = "default";
		pinctrl-0 = <&prox_i2c>;
		status = "ok";
		tmd3782@39 {
			compatible = "taos,tmd3782";
			reg = <0x39>;
			pinctrl-names = "default";
			pinctrl-0 = <&prox_irq>;
			interrupts = <3 0 0>;
			interrupt-parent = <&gpa3>;
			taos,irq_gpio = <&gpa3 3 0>;
			reg_vdd-supply = <&ldo35_reg>;
			taos,prox_rawdata_trim = <170>;
			taos,prox_thresh_hi = <480>;
			taos,prox_thresh_low = <340>;
			taos,als_time = <0xEB>;
			taos,intr_filter = <0x33>;
			taos,prox_pulsecnt = <0x06>;
			taos,als_gain = <0x22>;
			taos,coef_atime = <50>;
			taos,ga = <97>;
			taos,coef_a = <1000>;
			taos,coef_b = <1880>;
			taos,coef_c = <642>;
			taos,coef_d = <1140>;
		};
	};

	i2c@12 {
		compatible = "i2c-gpio";
		gpios = <&gpf4 2 0x0 /*sda*/
				&gpf4 1 0x0  /*scl*/
				>;
		i2c-gpio,scl-output-only;
		i2c-gpio,delay-us = <2>;
		#address-cells = <1>;
		#size-cells = <0>;
		pinctrl-names = "default";
		pinctrl-0 = <&accel_i2c>;
		status = "ok";
		bma_acc@10 {
			compatible = "bma2x2";
			reg = <0x10>;
			pinctrl-names = "default";
			pinctrl-0 = <&acc_int>;
			interrupts = <4 0 0>;
			interrupt-parent = <&gpa3>;
			bma2x2,gpio_int1 = <&gpa3 4 0x00>;
			bma2x2,vio-supply = <&ldo3_reg>;
			bma2x2,fs_range = <0x00>;
			bma2x2,poll_interval = <100>;
			bma2x2,min_interval = <2>;
			bma2x2,supply_type = <1>;
			bma2x2,accel_place = <0>;
		};
		bmm_mag@12 {
			compatible = "bmm050";
			reg = <0x12>;
			status = "okay";
			bmm050,vio-supply = <&ldo3_reg>;
			bmm050,poll_interval = <100>;
			bmm050,min_interval = <13>;
			bmm050,fs_range = <0x60>;
			bmm050,magnetic_place = <0>;
		};
	};

	pinctrl@14CE0000 {
		i2c1_bus: i2c1-bus {
			samsung,pins = "gpj1-1", "gpj1-0";
			samsung,pin-function = <3>;
			samsung,pin-pud = <0>;
			samsung,pin-drv = <0>;
		};
		i2c1_pdn_off: i2c1-pdn_off {
			samsung,pins = "gpj1-1", "gpj1-0";
			samsung,pin-con-pdn = <2>;
			samsung,pin-pud-pdn = <1>;
		};
	};

	pinctrl@10580000 {
		tsp_irq_active: tsp_irq_active {
			samsung,pins = "gpa3-6";
			samsung,pin-function = <0xf>;
			samsung,pin-pud = <0>;
			samsung,pin-drv = <0>;
		};
		tsp_irq_sleep: tsp_irq_sleep {
			samsung,pins = "gpa3-6";
			samsung,pin-function = <0>;
			samsung,pin-pud = <0>;
			samsung,pin-drv = <0>;
		};
	};

	// Touchscreen, melfas
	i2c@14E10000 {
		samsung,i2c-sda-delay = <100>;
		samsung,i2c-max-bus-freq = <400000>;
		status = "okay";
		mms_ts@48 {
			compatible = "melfas,mms_ts";
			reg = <0x48>; /*slave address*/
			interrupt-parent = <&gpa3>;
			interrupts = <6 0 0>; /* Touch int gpio */
			pinctrl-names = "tsp_gpio_active", "tsp_gpio_suspend";
			pinctrl-0 = <&tsp_irq_active>;
			pinctrl-1 = <&tsp_irq_sleep &i2c1_pdn_off>;
			melfas,regulator_avdd = "tsp_avdd";
			melfas,regulator_vdd = "tsp_io";
			melfas,irq-gpio = <&gpa3 6 0>; /*TSP IRQ GPIO */
			melfas,sda-gpio = <&gpj1 0 0>;
			melfas,scl-gpio = <&gpj1 1 0>;
			melfas,max_x = <2160>; /*max x*/
			melfas,max_y = <3840>; /*max y*/
		};
	};

	hsi2c@14E40000 {
		s2mps13_pmic@66 {
			regulators {
				buck1_reg: BUCK1 {
					regulator-name = "vdd_mif";
					regulator-min-microvolt = <600000>;
					regulator-max-microvolt = <1500000>;
					regulator-always-on;
					regulator-boot-on;
					regulator-ramp-delay = <12000>;
					regulator-initial-mode = <1>;
				};

				buck2_reg: BUCK2 {
					regulator-name = "vdd_eagle";
					regulator-min-microvolt = <600000>;
					regulator-max-microvolt = <1500000>;
					regulator-always-on;
					regulator-boot-on;
					regulator-ramp-delay = <12000>;
					regulator-initial-mode = <1>;
				};

				buck3_reg: BUCK3 {
					regulator-name = "vdd_kfc";
					regulator-min-microvolt = <600000>;
					regulator-max-microvolt = <1500000>;
					regulator-always-on;
					regulator-boot-on;
					regulator-ramp-delay = <12000>;
					regulator-initial-mode = <1>;
				};

				buck4_reg: BUCK4 {
					regulator-name = "vdd_int";
					regulator-min-microvolt = <600000>;
					regulator-max-microvolt = <1500000>;
					regulator-always-on;
					regulator-boot-on;
					regulator-ramp-delay = <12000>;
					regulator-initial-mode = <1>;
				};

				buck5_reg: BUCK5 {
					regulator-name = "vdd_disp_cam0";
					regulator-min-microvolt = <600000>;
					regulator-max-microvolt = <1500000>;
					regulator-always-on;
					regulator-boot-on;
					regulator-ramp-delay = <12000>;
					regulator-initial-mode = <1>;
				};

				buck6_reg: BUCK6 {
					regulator-name = "vdd_g3d";
					regulator-min-microvolt = <600000>;
					regulator-max-microvolt = <1500000>;
					regulator-always-on;
					regulator-boot-on;
					regulator-ramp-delay = <12000>;
					regulator-initial-mode = <1>;
				};

				buck10_reg: BUCK10 {
					regulator-name = "COMP_PMIC";
					regulator-min-microvolt = <1000000>;
					regulator-max-microvolt = <1500000>;
					regulator-ramp-delay = <12000>;
				};

				ldo2_reg: LDO2 {
					regulator-name = "vqmmc";
					regulator-min-microvolt = <1800000>;
					regulator-max-microvolt = <3300000>;
					regulator-boot-on;
					regulator-ramp-delay = <12000>;
					regulator-initial-mode = <1>;
				};

				ldo3_reg: LDO3 {
					regulator-name = "VDD1_E_1.8V_AP";
					regulator-min-microvolt = <1800000>;
					regulator-max-microvolt = <1800000>;
					regulator-always-on;
					regulator-initial-mode = <3>;
				};

				ldo11_reg: LDO11 {
					regulator-name = "vdd_int_m";
					regulator-min-microvolt = <600000>;
					regulator-max-microvolt = <1500000>;
					regulator-always-on;
					regulator-boot-on;
					regulator-ramp-delay = <12000>;
					regulator-initial-mode = <1>;
				};

				ldo17_reg: LDO17 {
					regulator-name = "vmmc";
					regulator-min-microvolt = <2800000>;
					regulator-max-microvolt = <2800000>;
				};

				ldo18_reg: LDO18 {
					regulator-name = "vdd_codec_1p8_ap";
					regulator-min-microvolt = <1800000>;
					regulator-max-microvolt = <1800000>;
					regulator-always-on;
				};

				ldo21_reg: LDO21 {
					regulator-name = "VT_CAM_1.8V";
					regulator-min-microvolt = <1800000>;
					regulator-max-microvolt = <1800000>;
				};

				ldo22_reg: LDO22 {
					regulator-name = "CAM_IO_1.8V_AP";
					regulator-min-microvolt = <1800000>;
					regulator-max-microvolt = <1800000>;
				};

				ldo23_reg: LDO23 {
					regulator-name = "CAM_SEN_CORE_1.2V_AP";
					regulator-min-microvolt = <1200000>;
					regulator-max-microvolt = <1200000>;
				};

				ldo24_reg: LDO24 {
					regulator-name = "VT_CAM_1.2V";
					regulator-min-microvolt = <1250000>;
					regulator-max-microvolt = <1250000>;
				};

				ldo25_reg: LDO25 {
					regulator-name = "vtouch_2.8v";
					regulator-min-microvolt = <2800000>;
					regulator-max-microvolt = <2800000>;
					regulator-boot-on;
				};

				ldo26_reg: LDO26 {
					regulator-name = "CAM_AF_2.8V_AP";
					regulator-min-microvolt = <2800000>;
					regulator-max-microvolt = <2800000>;
				};

				ldo27_reg: LDO27 {
					regulator-name = "VCC_3.0V_LCD_AP";
					regulator-min-microvolt = <3000000>;
					regulator-max-microvolt = <3000000>;
					regulator-boot-on;
				};

				ldo28_reg: LDO28 {
					regulator-name = "VCC_1.8V_LCD_AP";
					regulator-min-microvolt = <1800000>;
					regulator-max-microvolt = <1800000>;
					regulator-boot-on;
				};

				ldo29_reg: LDO29 {
					regulator-name = "VT_CAM_2.8V";
					regulator-min-microvolt = <2800000>;
					regulator-max-microvolt = <2800000>;
				};

				ldo30_reg: LDO30 {
					regulator-name = "tsp_avdd";
					regulator-min-microvolt = <3300000>;
					regulator-max-microvolt = <3300000>;
				};

				ldo31_reg: LDO31 {
					regulator-name = "tsp_io";
					regulator-min-microvolt = <1800000>;
					regulator-max-microvolt = <1800000>;
				};

				ldo33_reg: LDO33 {
					regulator-name = "vtouch_led_2.8v";
					regulator-min-microvolt = <2800000>;
					regulator-max-microvolt = <2800000>;
				};

				ldo35_reg: LDO35 {
					regulator-name = "vdd_sensor_2.8v";
					regulator-min-microvolt = <2800000>;
					regulator-max-microvolt = <2800000>;
				};

				ldo37_reg: LDO37 {
					regulator-name = "VDD_NFC_1P8";
					regulator-min-microvolt = <1800000>;
					regulator-max-microvolt = <1800000>;
				};

				ldo38_reg: LDO38 {
					regulator-name = "VDD_BLDC_3P0";
					regulator-min-microvolt = <3000000>;
					regulator-max-microvolt = <3000000>;
				};

				ldo39_reg: LDO39 {
					regulator-name = "VCC_1.8V_PERI";
					regulator-min-microvolt = <1800000>;
					regulator-max-microvolt = <1800000>;
					regulator-always-on;
				};

				ldo40_reg: LDO40 {
					regulator-name = "vdd_codec_3p3_ap";
					regulator-min-microvolt = <3300000>;
					regulator-max-microvolt = <3300000>;
					regulator-always-on;
				};
			};
		};
	};

	pinctrl@14CC0000 {
		vibetonz_pwm: vibetonz-pwm {
			samsung,pins = "gpd2-4";
			samsung,pin-function = <2>;
			samsung,pin-pud = <0>;
			samsung,pin-drv = <0>;
	      };
	};
};
